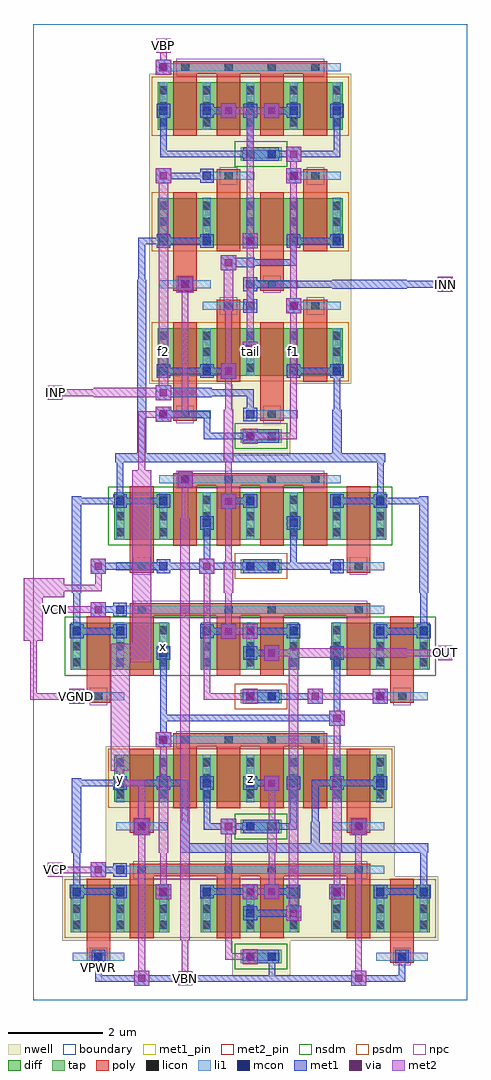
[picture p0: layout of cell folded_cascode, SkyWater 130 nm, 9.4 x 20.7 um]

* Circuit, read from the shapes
.subckt folded_cascode INN INP OUT VBN VBP VCN VCP VGND VPWR f1 f2 tail x y z
XM1 f1 VGND f1 VGND sky130_fd_pr__nfet_01v8 w=1 l=0.5 m=4
XM2 x VCN f1 VGND sky130_fd_pr__nfet_01v8 w=1 l=0.5 m=2
XM3 VGND VBN f1 VGND sky130_fd_pr__nfet_01v8 w=1 l=0.5 m=2
XM4 OUT VCN f2 VGND sky130_fd_pr__nfet_01v8 w=1 l=0.5 m=2
XM5 f2 VBN VGND VGND sky130_fd_pr__nfet_01v8 w=1 l=0.5 m=2
XM6 y VPWR y VPWR sky130_fd_pr__pfet_01v8 w=1 l=0.5 m=4
XM7 x VCP y VPWR sky130_fd_pr__pfet_01v8 w=1 l=0.5 m=2
XM8 VPWR x y VPWR sky130_fd_pr__pfet_01v8 w=1 l=0.5 m=2
XM9 f2 VPWR f2 VPWR sky130_fd_pr__pfet_01v8 w=1 l=0.5 m=2
XM10 f1 VPWR f1 VPWR sky130_fd_pr__pfet_01v8 w=1 l=0.5 m=2
XM11 tail VBP VPWR VPWR sky130_fd_pr__pfet_01v8 w=1 l=0.5 m=4
XM12 OUT VCP z VPWR sky130_fd_pr__pfet_01v8 w=1 l=0.5 m=2
XM13 z x VPWR VPWR sky130_fd_pr__pfet_01v8 w=1 l=0.5 m=2
XM14 tail INN f2 VPWR sky130_fd_pr__pfet_01v8 w=1 l=0.5 m=2
XM15 tail INP f1 VPWR sky130_fd_pr__pfet_01v8 w=1 l=0.5 m=2
.ends

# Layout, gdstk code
import gdstk
lib = gdstk.Library(unit=1e-6, precision=1e-09)
def R(c, l, rs):  # rectangles x0, y0, x1, y1
    for r in rs: c.add(gdstk.rectangle(r[:2], r[2:], *l))
def A(c, l, x, y, w, h, nx, ny, dx, dy):  # array of equal rectangles
    R(c, l, [(x+i*dx, y+j*dy, x+i*dx+w, y+j*dy+h) for i in range(nx) for j in range(ny)])
nwell = (64, 20)
diff = (65, 20)
tap = (65, 44)
poly = (66, 20)
licon = (66, 44)
li1 = (67, 20)
mcon = (67, 44)
met1_pin = (68, 16)
met1 = (68, 20)
via = (68, 44)
met2_pin = (69, 16)
met2 = (69, 20)
nsdm = (93, 44)
psdm = (94, 20)
npc = (95, 20)
boundary = (235, 4)

folded_cascode = lib.new_cell('folded_cascode')
R(folded_cascode, nwell, [(4.215,0.5,5.445,1.26), (0.615,1.26,8.585,2.62), (1.535,2.62,7.665,5.38), (4.215,11.54,5.445,13.065), (2.455,13.065,6.745,19.64)])
A(folded_cascode, diff, 0.795, 1.44, 2.09, 1, 3, 2, 2.76, 5.565)
R(folded_cascode, diff, [(1.715,4.2,7.485,5.2), (1.715,9.765,7.485,10.765), (2.635,13.245,6.565,14.245), (2.635,16.005,6.565,17.005), (2.635,18.46,6.565,19.46)])
A(folded_cascode, tap, 4.395, 0.775, 0.87, 0.29, 1, 5, 0, 2.76)
R(folded_cascode, tap, [(4.395,17.795,5.265,18.085)])
A(folded_cascode, poly, 2.97, 4.07, 0.5, 1.45, 4, 2, 0.92, 14.26)
A(folded_cascode, poly, 2.97, 9.635, 0.5, 1.405, 4, 1, 0.92, 0)
R(folded_cascode, poly, [(1.13,0.785,1.63,1.055), (7.57,0.785,8.07,1.055), (1.13,0.92,1.63,2.57), (7.57,0.92,8.07,2.57), (2.05,1.31,2.55,2.76), (3.89,1.31,4.39,2.76), (4.81,1.31,5.31,2.76), (6.65,1.31,7.15,2.76), (2.05,2.625,7.15,2.895), (2.05,3.545,2.55,3.815), (6.65,3.545,7.15,3.815), (2.05,3.68,2.55,5.33), (6.65,3.68,7.15,5.33), (2.97,5.385,6.23,5.655), (1.13,6.305,1.63,6.575), (7.57,6.305,8.07,6.575), (1.13,6.44,1.63,8.135), (7.57,6.44,8.07,8.135), (2.05,6.875,2.55,8.28), (3.89,6.875,4.39,8.28), (4.81,6.875,5.31,8.28), (6.65,6.875,7.15,8.28), (2.05,8.145,7.15,8.415), (2.05,9.065,2.55,9.335), (6.65,9.065,7.15,9.335), (2.05,9.2,2.55,10.895), (6.65,9.2,7.15,10.895), (2.97,10.905,6.23,11.175), (2.97,12.285,3.47,12.555), (4.81,12.285,5.31,12.555), (2.97,12.42,3.47,14.375), (4.81,12.42,5.31,14.375), (3.89,13.115,4.39,14.72), (5.73,13.115,6.23,14.72), (3.89,14.585,4.39,14.855), (5.73,14.585,6.23,14.855), (2.97,15.045,3.47,15.315), (4.81,15.045,5.31,15.315), (2.97,15.18,3.47,17.135), (4.81,15.18,5.31,17.135), (3.89,15.875,4.39,17.48), (5.73,15.875,6.23,17.48), (3.89,17.345,4.39,17.615), (5.73,17.345,6.23,17.615), (2.97,19.645,6.23,19.915)])
A(folded_cascode, licon, 4.515, 0.835, 0.17, 0.17, 1, 5, 0, 2.76)
A(folded_cascode, licon, 0.835, 1.515, 0.17, 0.17, 9, 3, 0.92, 0.34)
A(folded_cascode, licon, 1.755, 4.275, 0.17, 0.17, 7, 3, 0.92, 0.34)
A(folded_cascode, licon, 3.135, 5.435, 0.17, 0.17, 4, 2, 0.92, 5.52)
A(folded_cascode, licon, 0.835, 7.08, 0.17, 0.17, 9, 3, 0.92, 0.34)
A(folded_cascode, licon, 1.755, 9.84, 0.17, 0.17, 7, 3, 0.92, 0.34)
A(folded_cascode, licon, 4.975, 12.335, 0.17, 0.17, 1, 3, 0, 2.76)
A(folded_cascode, licon, 2.675, 13.32, 0.17, 0.17, 5, 3, 0.92, 0.34)
A(folded_cascode, licon, 2.675, 16.08, 0.17, 0.17, 5, 3, 0.92, 0.34)
A(folded_cascode, licon, 2.675, 18.535, 0.17, 0.17, 5, 3, 0.92, 0.34)
A(folded_cascode, licon, 3.135, 19.695, 0.17, 0.17, 4, 1, 0.92, 0)
R(folded_cascode, licon, [(1.295,0.835,1.465,1.005), (4.975,0.835,5.145,1.005), (7.735,0.835,7.905,1.005), (2.215,2.675,2.385,2.845), (4.055,2.675,4.225,2.845), (4.975,2.675,5.145,2.845), (6.815,2.675,6.985,2.845), (2.215,3.595,2.385,3.765), (4.975,3.595,5.145,3.765), (6.815,3.595,6.985,3.765), (1.295,6.355,1.465,6.525), (4.975,6.355,5.145,6.525), (7.735,6.355,7.905,6.525), (2.215,8.195,2.385,8.365), (4.055,8.195,4.225,8.365), (4.975,8.195,5.145,8.365), (6.815,8.195,6.985,8.365), (2.215,9.115,2.385,9.285), (4.975,9.115,5.145,9.285), (6.815,9.115,6.985,9.285), (4.975,11.875,5.145,12.045), (3.135,12.335,3.305,12.505), (4.055,14.635,4.225,14.805), (5.895,14.635,6.065,14.805), (3.135,15.095,3.305,15.265), (4.055,17.395,4.225,17.565), (5.895,17.395,6.065,17.565), (4.515,17.855,4.685,18.025)])
A(folded_cascode, li1, 4.435, 0.835, 0.79, 0.17, 1, 5, 0, 2.76)
A(folded_cascode, li1, 0.835, 1.435, 0.17, 1.01, 9, 2, 0.92, 5.565)
A(folded_cascode, li1, 1.755, 4.195, 0.17, 1.01, 7, 2, 0.92, 5.565)
A(folded_cascode, li1, 2.675, 13.24, 0.17, 1.01, 5, 2, 0.92, 2.76)
A(folded_cascode, li1, 2.675, 18.455, 0.17, 1.01, 5, 1, 0.92, 0)
R(folded_cascode, li1, [(0.835,0.835,1.925,1.005), (7.275,0.835,8.365,1.005), (1.755,2.675,7.445,2.845), (1.755,3.595,2.845,3.765), (6.355,3.595,7.445,3.765), (2.675,5.435,6.525,5.605), (0.835,6.355,1.925,6.525), (7.275,6.355,8.365,6.525), (1.755,8.195,7.445,8.365), (1.755,9.115,2.845,9.285), (6.355,9.115,7.445,9.285), (2.675,10.955,6.525,11.125), (2.675,12.335,3.765,12.505), (4.515,12.335,5.605,12.505), (3.595,14.635,4.685,14.805), (5.435,14.635,6.525,14.805), (2.675,15.095,3.765,15.265), (4.515,15.095,5.605,15.265), (3.595,17.395,4.685,17.565), (5.435,17.395,6.525,17.565), (4.435,17.855,5.225,18.025), (2.675,19.695,6.525,19.865)])
A(folded_cascode, mcon, 4.975, 0.835, 0.17, 0.17, 1, 5, 0, 2.76)
A(folded_cascode, mcon, 0.835, 2.215, 0.17, 0.17, 4, 1, 0.92, 0)
A(folded_cascode, mcon, 5.435, 2.215, 0.17, 0.17, 4, 1, 0.92, 0)
A(folded_cascode, mcon, 4.515, 3.595, 0.17, 0.17, 1, 4, 0, 2.76)
A(folded_cascode, mcon, 1.755, 4.515, 0.17, 0.17, 7, 1, 0.92, 0)
A(folded_cascode, mcon, 2.675, 7.275, 0.17, 0.17, 3, 2, 1.84, 3.22)
A(folded_cascode, mcon, 1.755, 7.735, 0.17, 0.17, 4, 1, 1.84, 0)
A(folded_cascode, mcon, 2.675, 16.015, 0.17, 0.17, 5, 2, 0.92, 2.76)
R(folded_cascode, mcon, [(1.295,0.835,1.465,1.005), (4.515,0.835,4.685,1.005), (7.735,0.835,7.905,1.005), (4.515,1.755,4.685,1.925), (1.755,2.675,1.925,2.845), (2.215,3.595,2.385,3.765), (6.815,3.595,6.985,3.765), (2.675,5.435,2.845,5.605), (0.835,6.355,1.005,6.525), (7.275,6.355,7.445,6.525), (0.835,7.735,1.005,7.905), (8.195,7.735,8.365,7.905), (1.755,8.195,1.925,8.365), (2.675,9.115,2.845,9.285), (6.355,9.115,6.525,9.285), (3.595,10.035,3.765,10.205), (5.435,10.035,5.605,10.205), (1.755,10.495,1.925,10.665), (7.275,10.495,7.445,10.665), (3.135,10.955,3.305,11.125), (2.675,12.335,2.845,12.505), (4.515,12.335,4.685,12.505), (2.675,13.255,2.845,13.425), (3.595,13.255,3.765,13.425), (5.435,13.255,5.605,13.425), (6.355,13.255,6.525,13.425), (4.515,13.715,4.685,13.885), (4.515,14.635,4.685,14.805), (5.435,14.635,5.605,14.805), (3.135,15.095,3.305,15.265), (4.515,15.095,4.685,15.265), (3.595,17.395,3.765,17.565), (5.435,17.395,5.605,17.565), (4.515,17.855,4.685,18.025), (4.975,17.855,5.145,18.025), (2.675,19.695,2.845,19.865)])
R(folded_cascode, met1_pin, [(1.31,0.39,1.45,0.99), (0.775,6.295,1.065,6.585)])
A(folded_cascode, met1, 4.455, 0.775, 0.75, 0.29, 1, 5, 0, 2.76)
A(folded_cascode, met1, 4.53, 0.85, 0.14, 0.14, 1, 5, 0, 2.76)
A(folded_cascode, met1, 0.775, 2.155, 0.29, 0.29, 4, 1, 0.92, 0)
A(folded_cascode, met1, 5.375, 2.155, 0.29, 0.29, 4, 1, 0.92, 0)
A(folded_cascode, met1, 1.695, 4.455, 0.29, 0.29, 7, 1, 0.92, 0)
A(folded_cascode, met1, 4.44, 6.28, 0.32, 0.32, 3, 1, 1.38, 0)
A(folded_cascode, met1, 2.615, 7.215, 0.29, 0.29, 3, 2, 1.84, 3.22)
A(folded_cascode, met1, 3.98, 7.66, 0.32, 0.32, 1, 3, 0, 2.76)
A(folded_cascode, met1, 1.695, 7.675, 0.29, 0.29, 4, 1, 1.84, 0)
A(folded_cascode, met1, 3.61, 7.75, 0.6, 0.14, 1, 3, 0, 5.52)
A(folded_cascode, met1, 2.69, 9.13, 1.06, 0.14, 4, 1, 0.92, 0)
A(folded_cascode, met1, 2.615, 15.955, 0.29, 0.29, 5, 2, 0.92, 2.76)
A(folded_cascode, met1, 2.69, 17.87, 0.14, 1.06, 3, 1, 1.84, 0)
R(folded_cascode, met1, [(2.14,0.3,2.46,0.62), (6.74,0.3,7.06,0.62), (1.31,0.39,5.13,0.53), (1.31,0.39,1.45,0.99), (4.99,0.39,5.13,0.99), (4.99,0.39,7.89,0.53), (7.75,0.39,7.89,0.99), (4.44,0.76,4.76,1.08), (1.235,0.775,1.525,1.065), (7.675,0.775,7.965,1.065), (4.53,0.85,5.13,0.99), (5.36,1.68,5.68,2), (4.455,1.695,4.745,1.985), (4.53,1.77,5.59,1.91), (2.6,2.14,2.92,2.46), (4.44,2.14,4.76,2.46), (4.9,2.14,5.22,2.46), (6.28,2.14,6.6,2.46), (0.85,2.23,1.91,2.37), (0.85,2.23,0.99,3.29), (3.61,2.23,4.67,2.37), (4.99,2.23,5.59,2.37), (7.29,2.23,8.35,2.37), (8.21,2.23,8.35,3.29), (1.22,2.6,1.54,2.92), (1.695,2.615,1.985,2.905), (1.31,2.69,1.91,2.83), (0.82,3.12,1.02,4.7), (3.12,3.12,6.08,3.32), (3.12,3.12,3.32,3.78), (5.88,3.12,6.08,3.78), (5.88,3.12,8.38,3.32), (2.14,3.52,2.46,3.84), (3.98,3.52,4.3,3.84), (6.74,3.52,7.06,3.84), (2.155,3.535,2.445,3.825), (6.755,3.535,7.045,3.825), (3.15,3.61,3.29,4.67), (3.61,3.61,4.67,3.75), (3.61,3.61,3.75,4.67), (4.53,3.61,5.59,3.75), (5.45,3.61,5.59,4.67), (5.91,3.61,6.05,4.67), (4.9,4.44,5.22,4.76), (0.85,4.53,1.91,4.67), (1.77,4.53,2.83,4.67), (2.69,4.53,3.29,4.67), (4.53,4.53,5.13,4.67), (5.91,4.53,6.51,4.67), (6.37,4.53,7.43,4.67), (2.6,5.36,2.92,5.68), (2.615,5.375,2.905,5.665), (2.69,5.45,2.83,7.43), (6.28,5.82,6.6,6.14), (2.69,5.91,6.51,6.05), (6.37,5.91,6.51,7.43), (0.76,6.28,1.08,6.6), (0.775,6.295,1.065,6.585), (7.215,6.295,7.505,6.585), (4.53,6.37,6.05,6.51), (4.9,7.2,5.22,7.52), (4.53,7.29,5.13,7.43), (4.44,7.66,4.76,7.98), (0.775,7.675,1.065,7.965), (8.135,7.675,8.425,7.965), (0.85,7.75,1.91,7.89), (0.85,7.75,0.99,8.81), (4.53,7.75,5.59,7.89), (7.29,7.75,8.35,7.89), (8.21,7.75,8.35,8.81), (1.22,8.12,1.54,8.44), (1.695,8.135,1.985,8.425), (1.31,8.21,1.91,8.35), (0.82,8.64,1.02,10.68), (8.18,8.64,8.38,10.68), (1.22,9.04,1.54,9.36), (3.52,9.04,3.84,9.36), (2.615,9.055,2.905,9.345), (6.295,9.055,6.585,9.345), (1.31,9.13,2.83,9.27), (3.61,9.13,3.75,10.19), (5.45,9.13,5.59,10.19), (3.535,9.975,3.825,10.265), (5.375,9.975,5.665,10.265), (1.695,10.435,1.985,10.725), (7.215,10.435,7.505,10.725), (0.85,10.51,1.91,10.65), (1.77,10.51,2.83,10.65), (1.77,10.51,1.91,11.57), (4.07,10.51,4.67,10.65), (6.37,10.51,7.43,10.65), (7.29,10.51,8.35,10.65), (7.29,10.51,7.43,11.57), (3.06,10.88,3.38,11.2), (3.075,10.895,3.365,11.185), (1.74,11.4,6.54,11.6), (2.2,11.4,2.4,15.28), (6.34,11.4,6.54,12.52), (6.34,11.4,7.46,11.6), (4.44,11.8,4.76,12.12), (3.61,11.89,4.67,12.03), (3.61,11.89,3.75,12.49), (2.6,12.26,2.92,12.58), (2.615,12.275,2.905,12.565), (4.455,12.275,4.745,12.565), (2.69,12.35,3.75,12.49), (4.53,12.35,4.67,12.95), (6.37,12.35,6.51,13.41), (2.6,12.72,2.92,13.04), (2.66,12.78,3.78,12.98), (3.61,12.81,4.67,12.95), (2.615,13.195,2.905,13.485), (3.535,13.195,3.825,13.485), (5.375,13.195,5.665,13.485), (6.295,13.195,6.585,13.485), (2.69,13.27,3.75,13.41), (5.45,13.27,6.51,13.41), (4.44,13.64,4.76,13.96), (4.455,13.655,4.745,13.945), (5.36,14.56,5.68,14.88), (4.455,14.575,4.745,14.865), (5.375,14.575,5.665,14.865), (4.53,14.65,4.67,15.25), (3.06,15.02,3.38,15.34), (8.58,15.02,8.9,15.34), (3.075,15.035,3.365,15.325), (4.455,15.035,4.745,15.325), (6.34,15.08,7.92,15.28), (2.23,15.11,2.37,16.17), (4.53,15.11,6.51,15.25), (7.75,15.11,8.81,15.25), (3.98,15.48,4.3,15.8), (4.04,15.54,4.7,15.74), (4.53,15.57,5.59,15.71), (5.45,15.57,5.59,16.17), (4.44,15.94,4.76,16.26), (2.23,16.03,2.83,16.17), (2.69,16.03,3.75,16.17), (5.45,16.03,6.51,16.17), (2.6,17.32,2.92,17.64), (5.36,17.32,5.68,17.64), (3.535,17.335,3.825,17.625), (5.375,17.335,5.665,17.625), (2.69,17.41,3.75,17.55), (5.36,17.78,5.68,18.1), (4.455,17.795,5.205,18.085), (2.69,17.87,4.67,18.01), (4.53,17.87,5.13,18.01), (4.99,17.87,5.59,18.01), (4.99,17.87,5.13,18.01), (5.45,17.87,6.51,18.01), (3.98,18.7,4.3,19.02), (4.9,18.7,5.22,19.02), (4.99,18.79,5.59,18.93), (2.6,19.62,2.92,19.94), (2.615,19.635,2.905,19.925)])
A(folded_cascode, via, 4.525, 6.365, 0.15, 0.15, 3, 1, 1.38, 0)
A(folded_cascode, via, 4.065, 7.745, 0.15, 0.15, 1, 3, 0, 2.76)
R(folded_cascode, via, [(2.225,0.385,2.375,0.535), (6.825,0.385,6.975,0.535), (4.525,0.845,4.675,0.995), (5.445,1.765,5.595,1.915), (2.685,2.225,2.835,2.375), (4.525,2.225,4.675,2.375), (4.985,2.225,5.135,2.375), (6.365,2.225,6.515,2.375), (1.305,2.685,1.455,2.835), (2.225,3.605,2.375,3.755), (4.065,3.605,4.215,3.755), (6.825,3.605,6.975,3.755), (4.985,4.525,5.135,4.675), (2.685,5.445,2.835,5.595), (6.365,5.905,6.515,6.055), (0.845,6.365,0.995,6.515), (4.985,7.285,5.135,7.435), (4.525,7.745,4.675,7.895), (1.305,8.205,1.455,8.355), (1.305,9.125,1.455,9.275), (3.605,9.125,3.755,9.275), (3.145,10.965,3.295,11.115), (4.525,11.885,4.675,12.035), (2.685,12.345,2.835,12.495), (2.685,12.805,2.835,12.955), (4.525,13.725,4.675,13.875), (5.445,14.645,5.595,14.795), (3.145,15.105,3.295,15.255), (8.665,15.105,8.815,15.255), (4.065,15.565,4.215,15.715), (4.525,16.025,4.675,16.175), (2.685,17.405,2.835,17.555), (5.445,17.405,5.595,17.555), (5.445,17.865,5.595,18.015), (4.065,18.785,4.215,18.935), (4.985,18.785,5.135,18.935), (2.685,19.705,2.835,19.855)])
R(folded_cascode, met2_pin, [(3.07,0.31,3.37,0.61), (0.31,2.61,0.61,2.91), (8.59,7.21,8.89,7.51), (0.39,8.21,0.53,8.35), (0.31,12.73,0.61,13.03), (8.59,15.03,8.89,15.33), (2.61,20.09,2.91,20.39)])
A(folded_cascode, met2, 4.44, 6.28, 0.32, 0.32, 3, 1, 1.38, 0)
A(folded_cascode, met2, 3.98, 7.66, 0.32, 0.32, 1, 3, 0, 2.76)
R(folded_cascode, met2, [(2.14,0.3,2.46,0.62), (6.74,0.3,7.06,0.62), (3.07,0.31,3.37,0.61), (2.23,0.39,2.37,3.75), (3.15,0.39,3.29,1.45), (3.15,0.39,3.29,0.53), (6.83,0.39,6.97,3.75), (4.44,0.76,4.76,1.08), (4.07,0.85,4.67,0.99), (4.07,0.85,4.21,3.75), (3.12,1.28,3.32,10.22), (5.36,1.68,5.68,2), (5.42,1.74,5.62,7.46), (2.6,2.14,2.92,2.46), (4.44,2.14,4.76,2.46), (4.9,2.14,5.22,2.46), (6.28,2.14,6.6,2.46), (2.69,2.23,2.83,3.29), (4.53,2.23,5.13,2.37), (4.99,2.23,5.13,3.29), (6.37,2.23,6.51,3.29), (1.22,2.6,1.54,2.92), (0.31,2.61,0.61,2.91), (0.39,2.69,1.45,2.83), (0.39,2.69,0.53,2.83), (2.66,3.12,2.86,4.7), (4.96,3.12,5.16,3.78), (6.34,3.12,6.54,4.7), (2.14,3.52,2.46,3.84), (3.98,3.52,4.3,3.84), (6.74,3.52,7.06,3.84), (2.23,3.61,2.37,4.67), (4.99,3.61,5.13,4.67), (4.9,4.44,5.22,4.76), (1.77,4.53,2.37,4.67), (1.77,4.53,1.91,5.13), (2.69,4.53,2.83,5.59), (6.37,4.53,6.51,6.05), (1.64,4.86,2.04,7.56), (2.6,5.36,2.92,5.68), (6.28,5.82,6.6,6.14), (0.76,6.28,1.08,6.6), (-0.07,6.37,0.07,7.89), (-0.07,6.37,0.99,6.51), (3.61,6.37,4.67,6.51), (3.61,6.37,3.75,9.27), (5.91,6.37,7.43,6.51), (1.64,7.16,2.5,7.56), (2.1,7.16,2.5,11.24), (4.9,7.2,5.22,7.52), (8.59,7.21,8.89,7.51), (5.42,7.26,7.92,7.46), (4.99,7.29,5.59,7.43), (7.75,7.29,8.81,7.43), (8.67,7.29,8.81,7.43), (-0.2,7.62,0.2,8.94), (4.44,7.66,4.76,7.98), (4.07,7.75,4.67,7.89), (4.07,7.75,4.21,8.81), (1.22,8.12,1.54,8.44), (0.39,8.21,1.45,8.35), (0.39,8.21,0.53,8.35), (-0.2,8.54,0.66,8.94), (4.04,8.64,4.24,9.3), (0.39,8.67,1.45,8.81), (1.31,8.67,1.45,9.27), (1.22,9.04,1.54,9.36), (3.52,9.04,3.84,9.36), (4.07,9.13,4.21,10.65), (3.15,10.05,3.29,11.11), (4.07,10.51,4.21,11.57), (3.06,10.88,3.38,11.2), (2.23,10.97,2.37,12.49), (4.04,11.4,4.24,12.52), (4.44,11.8,4.76,12.12), (4.53,11.89,5.59,12.03), (5.45,11.89,5.59,14.79), (2.6,12.26,2.92,12.58), (2.23,12.35,2.83,12.49), (2.69,12.35,3.29,12.49), (3.15,12.35,3.29,15.25), (4.07,12.35,4.21,13.41), (2.6,12.72,2.92,13.04), (0.31,12.73,0.61,13.03), (1.28,12.78,2.86,12.98), (2.66,12.78,2.86,17.58), (0.39,12.81,1.45,12.95), (0.39,12.81,0.53,12.95), (4.07,13.27,4.21,14.79), (4.44,13.64,4.76,13.96), (4.53,13.73,4.67,16.17), (5.36,14.56,5.68,14.88), (4.04,14.62,4.24,15.74), (5.45,14.65,5.59,17.55), (3.06,15.02,3.38,15.34), (8.58,15.02,8.9,15.34), (8.59,15.03,8.89,15.33), (8.67,15.11,8.81,15.25), (3.98,15.48,4.3,15.8), (4.44,15.94,4.76,16.26), (4.53,16.03,4.67,18.93), (2.6,17.32,2.92,17.64), (5.36,17.32,5.68,17.64), (5.45,17.41,5.59,18.01), (5.36,17.78,5.68,18.1), (3.98,18.7,4.3,19.02), (4.9,18.7,5.22,19.02), (4.07,18.79,4.67,18.93), (4.53,18.79,5.13,18.93), (2.6,19.62,2.92,19.94), (2.69,19.71,2.83,20.31), (2.61,20.09,2.91,20.39), (2.69,20.17,2.83,20.31)])
R(folded_cascode, nsdm, [(4.27,0.65,5.39,1.19), (4.27,3.41,5.39,3.95), (0.67,6.88,8.53,8.13), (1.59,9.64,7.61,10.89), (4.27,11.69,5.39,12.23), (4.27,17.67,5.39,18.21)])
R(folded_cascode, psdm, [(0.67,1.315,8.53,2.565), (1.59,4.075,7.61,5.325), (4.27,6.17,5.39,6.71), (4.27,8.93,5.39,9.47), (2.51,13.12,6.69,14.37), (2.51,15.88,6.69,17.13), (2.51,18.335,6.69,19.585)])
R(folded_cascode, npc, [(1.195,0.735,1.565,1.105), (7.635,0.735,8.005,1.105), (2.115,2.575,7.085,2.945), (2.115,3.495,2.485,3.865), (6.715,3.495,7.085,3.865), (3.035,5.335,6.165,5.705), (1.195,6.255,1.565,6.625), (7.635,6.255,8.005,6.625), (2.115,8.095,7.085,8.465), (2.115,9.015,2.485,9.385), (6.715,9.015,7.085,9.385), (3.035,10.855,6.165,11.225), (3.035,12.235,3.405,12.605), (4.875,12.235,5.245,12.605), (3.955,14.535,4.325,14.905), (5.795,14.535,6.165,14.905), (3.035,14.995,3.405,15.365), (4.875,14.995,5.245,15.365), (3.955,17.295,4.325,17.665), (5.795,17.295,6.165,17.665), (3.035,19.595,6.165,19.965)])
R(folded_cascode, boundary, [(0,0,9.2,20.7)])
folded_cascode.add(gdstk.Label('f2', (2.76,13.745), layer=67, texttype=5))
folded_cascode.add(gdstk.Label('tail', (4.6,13.745), layer=67, texttype=5))
folded_cascode.add(gdstk.Label('f1', (5.52,13.745), layer=67, texttype=5))
folded_cascode.add(gdstk.Label('x', (2.76,7.505), layer=67, texttype=5))
folded_cascode.add(gdstk.Label('y', (1.84,4.7), layer=67, texttype=5))
folded_cascode.add(gdstk.Label('z', (4.6,4.7), layer=67, texttype=5))
folded_cascode.add(gdstk.Label('VPWR', (1.38,0.69), layer=68, texttype=5))
folded_cascode.add(gdstk.Label('VGND', (0.92,6.44), layer=68, texttype=5))
folded_cascode.add(gdstk.Label('INP', (0.46,12.88), layer=69, texttype=5))
folded_cascode.add(gdstk.Label('INN', (8.74,15.18), layer=69, texttype=5))
folded_cascode.add(gdstk.Label('VBP', (2.76,20.24), layer=69, texttype=5))
folded_cascode.add(gdstk.Label('VBN', (3.22,0.46), layer=69, texttype=5))
folded_cascode.add(gdstk.Label('VCN', (0.46,8.28), layer=69, texttype=5))
folded_cascode.add(gdstk.Label('VCP', (0.46,2.76), layer=69, texttype=5))
folded_cascode.add(gdstk.Label('OUT', (8.74,7.36), layer=69, texttype=5))
folded_cascode.add(gdstk.Label('VPWR', (1.38,0.69), layer=68, texttype=16))
folded_cascode.add(gdstk.Label('VGND', (0.92,6.44), layer=68, texttype=16))
folded_cascode.add(gdstk.Label('INP', (0.46,12.88), layer=69, texttype=16))
folded_cascode.add(gdstk.Label('INN', (8.74,15.18), layer=69, texttype=16))
folded_cascode.add(gdstk.Label('VBP', (2.76,20.24), layer=69, texttype=16))
folded_cascode.add(gdstk.Label('VBN', (3.22,0.46), layer=69, texttype=16))
folded_cascode.add(gdstk.Label('VCN', (0.46,8.28), layer=69, texttype=16))
folded_cascode.add(gdstk.Label('VCP', (0.46,2.76), layer=69, texttype=16))
folded_cascode.add(gdstk.Label('OUT', (8.74,7.36), layer=69, texttype=16))

lib.write_gds('folded_cascode.gds')
